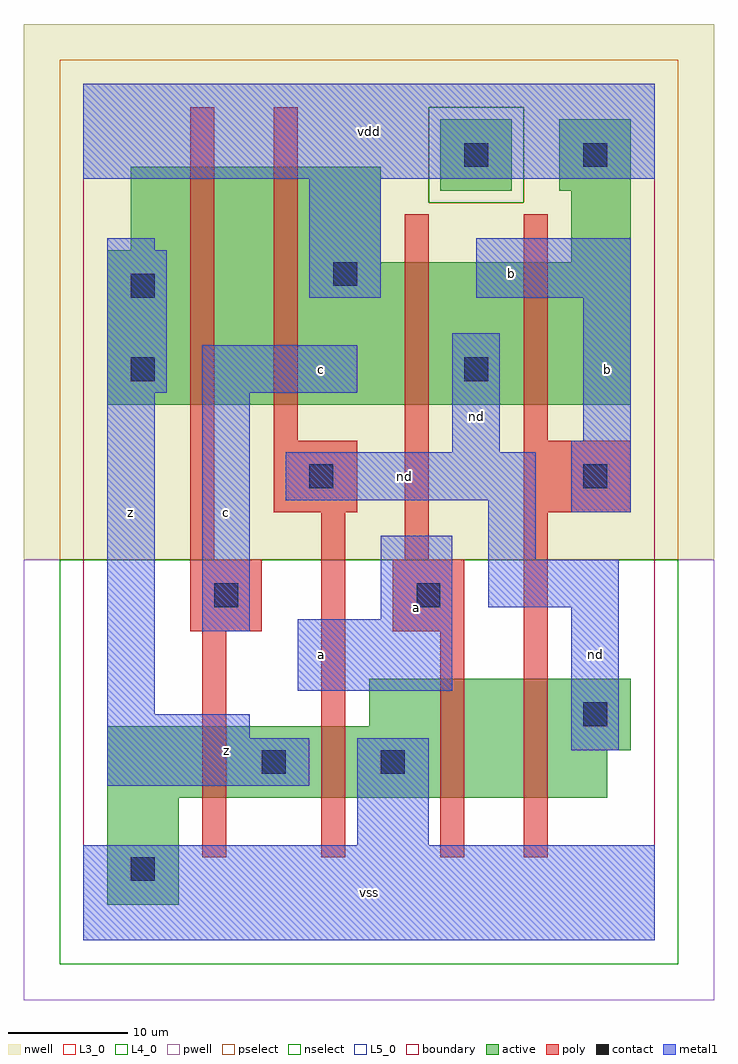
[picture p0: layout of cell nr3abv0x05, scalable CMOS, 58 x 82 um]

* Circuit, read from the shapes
.subckt nr3abv0x05 a b c nd vdd vss z
M1 z c vss VSUBS nfet w=6u l=2u
M2 vss nd z VSUBS nfet w=6u l=2u
M3 n1 a vss VSUBS nfet w=10u l=2u
M4 nd b n1 VSUBS nfet w=10u l=2u
M5 n2 c z vdd pfet w=20u l=2u
M6 vdd nd n2 vdd pfet w=20u l=2u
M7 nd a vdd vdd pfet w=12u l=2u
M8 vdd b nd vdd pfet w=12u l=2u
.ends

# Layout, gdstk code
import gdstk
lib = gdstk.Library(unit=1e-6, precision=1e-09)
def R(c, l, rs):  # rectangles x0, y0, x1, y1
    for r in rs: c.add(gdstk.rectangle(r[:2], r[2:], *l))
L3_0 = (3, 0)
L4_0 = (4, 0)
L5_0 = (5, 0)
contact = (25, 0)
pwell = (41, 0)
nwell = (42, 0)
active = (43, 0)
pselect = (44, 0)
nselect = (45, 0)
poly = (46, 0)
metal1 = (49, 0)
boundary = (63, 0)

nr3abv0x05 = lib.new_cell('nr3abv0x05')
R(nr3abv0x05, L3_0, [(2,3,8,12), (2,12,44,16), (2,16,46,18), (24,18,46,22)])
R(nr3abv0x05, L4_0, [(2,45,46,57), (2,57,25,58), (41,57,46,63), (4,58,25,65), (40,63,46,69)])
R(nr3abv0x05, L5_0, [(30,63,36,69)])
R(nr3abv0x05, contact, [(4,5,6,7), (15,14,17,16), (25,14,27,16), (42,18,44,20), (11,28,13,30), (28,28,30,30), (19,38,21,40), (42,38,44,40), (4,47,6,49), (32,47,34,49), (4,54,6,56), (21,55,23,57), (32,65,34,67), (42,65,44,67)])
R(nr3abv0x05, pwell, [(-5,-5,53,32)])
R(nr3abv0x05, nwell, [(-5,32,53,77)])
R(nr3abv0x05, active, [(2,3,8,12), (2,12,44,16), (2,16,46,18), (24,18,46,22), (2,45,46,57), (2,57,25,58), (41,57,46,63), (4,58,25,65), (30,63,36,69), (40,63,46,69)])
R(nr3abv0x05, pselect, [(-2,32,50,62), (-2,62,29,70), (37,62,50,70), (-2,70,50,74)])
R(nr3abv0x05, nselect, [(-2,-2,50,32), (29,62,37,70)])
R(nr3abv0x05, poly, [(10,7,12,26), (20,7,22,36), (30,7,32,26), (37,7,39,36), (9,26,15,32), (26,26,32,32), (9,32,11,70), (27,32,29,61), (16,36,23,42), (37,36,46,42), (16,42,18,70), (37,42,39,61)])
R(nr3abv0x05, metal1, [(0,0,48,8), (23,8,29,17), (2,13,19,17), (41,16,45,28), (2,17,14,19), (2,19,6,46), (18,21,31,27), (10,26,14,46), (25,27,31,34), (34,28,45,32), (34,32,38,37), (41,36,46,42), (17,37,38,41), (31,41,35,51), (42,42,46,54), (2,46,7,58), (10,46,23,50), (19,54,25,64), (33,54,46,59), (2,58,6,59), (0,64,48,72)])
R(nr3abv0x05, boundary, [(0,0,48,72)])
nr3abv0x05.add(gdstk.Label('nd', (43,24), layer=49, texttype=0))
nr3abv0x05.add(gdstk.Label('nd', (27,39), layer=49, texttype=0))
nr3abv0x05.add(gdstk.Label('nd', (33,44), layer=49, texttype=0))
nr3abv0x05.add(gdstk.Label('z', (4,36), layer=49, texttype=0))
nr3abv0x05.add(gdstk.Label('z', (12,16), layer=49, texttype=0))
nr3abv0x05.add(gdstk.Label('a', (20,24), layer=49, texttype=0))
nr3abv0x05.add(gdstk.Label('c', (12,36), layer=49, texttype=0))
nr3abv0x05.add(gdstk.Label('c', (20,48), layer=49, texttype=0))
nr3abv0x05.add(gdstk.Label('vss', (24,4), layer=49, texttype=0))
nr3abv0x05.add(gdstk.Label('a', (28,28), layer=49, texttype=0))
nr3abv0x05.add(gdstk.Label('vdd', (24,68), layer=49, texttype=0))
nr3abv0x05.add(gdstk.Label('b', (44,48), layer=49, texttype=0))
nr3abv0x05.add(gdstk.Label('b', (36,56), layer=49, texttype=0))

lib.write_gds('nr3abv0x05.gds')
